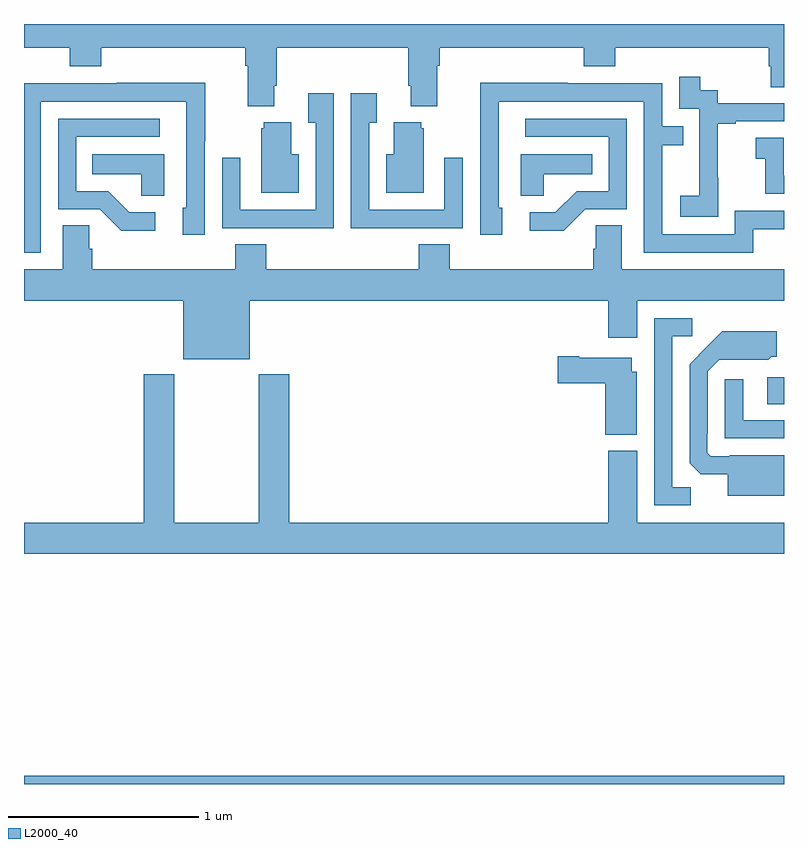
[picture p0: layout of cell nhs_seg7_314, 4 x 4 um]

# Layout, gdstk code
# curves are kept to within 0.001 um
import gdstk
lib = gdstk.Library(unit=1e-6, precision=1e-09)
def R(c, l, rs):  # rectangles x0, y0, x1, y1
    for r in rs: c.add(gdstk.rectangle(r[:2], r[2:], *l))
def P(c, l, *ps):  # polygons
    for p in ps: c.add(gdstk.Polygon(p, *l))
L2000_40 = (2000, 40)

nhs_seg7_314 = lib.new_cell('nhs_seg7_314')
R(nhs_seg7_314, L2000_40, [(133,1070,137,1070.044), (136.911,1072,137,1072.14)])
P(nhs_seg7_314, L2000_40, [(134.317,1073.674),(134.33,1073.674),(134.33,1073.876),(135.023,1073.876),(135.023,1073.674),(135.035,1073.674),(135.035,1073.567),(135.175,1073.567),(135.175,1073.78),(135.188,1073.78),(135.188,1073.876),(135.947,1073.876),(135.947,1073.777),(136.112,1073.777),(136.112,1073.876),(136.919,1073.876),(136.919,1073.778),(136.931,1073.778),(136.931,1073.668),(137,1073.668),(137,1074),(133,1074),(133,1073.876),(133.241,1073.876),(133.241,1073.777),(133.406,1073.777),(133.406,1073.876),(134.165,1073.876),(134.165,1073.78),(134.177,1073.78),(134.177,1073.567),(134.317,1073.567)],
  [(136.653,1073.191),(136.652,1073.191),(136.652,1073.475),(136.747,1073.475),(136.747,1073.487),(137,1073.487),(137,1073.583),(136.65,1073.583),(136.65,1073.652),(136.558,1073.652),(136.558,1073.722),(136.449,1073.722),(136.449,1073.553),(136.554,1073.553),(136.554,1073.324),(136.553,1073.324),(136.553,1073.095),(136.455,1073.095),(136.455,1072.985),(136.653,1072.985)],
  [(133.089,1073.592),(133.854,1073.592),(133.854,1073.034),(133.835,1073.034),(133.835,1072.89),(133.95,1072.89),(133.95,1073.383),(133.953,1073.383),(133.953,1073.69),(133.489,1073.69),(133.489,1073.688),(133,1073.688),(133,1072.797),(133.089,1072.797)],
  [(136.837,1072.92),(137,1072.92),(137,1073.016),(136.74,1073.016),(136.74,1072.893),(136.359,1072.893),(136.359,1073.362),(136.469,1073.362),(136.469,1073.463),(136.359,1073.463),(136.359,1073.688),(135.863,1073.688),(135.863,1073.69),(135.4,1073.69),(135.4,1073.383),(135.402,1073.383),(135.402,1072.89),(135.517,1072.89),(135.517,1073.034),(135.498,1073.034),(135.498,1073.592),(136.263,1073.592),(136.263,1072.797),(136.837,1072.797)],
  [(134.631,1073.635),(134.495,1073.635),(134.495,1073.479),(134.535,1073.479),(134.535,1073.022),(134.139,1073.022),(134.139,1073.296),(134.043,1073.296),(134.043,1072.926),(134.359,1072.926),(134.359,1072.925),(134.631,1072.925)],
  [(134.993,1072.926),(135.309,1072.926),(135.309,1073.296),(135.213,1073.296),(135.213,1073.022),(134.817,1073.022),(134.817,1073.479),(134.857,1073.479),(134.857,1073.635),(134.721,1073.635),(134.721,1072.925),(134.993,1072.925)],
  [(135.954,1073.025),(136.173,1073.025),(136.173,1073.502),(135.639,1073.502),(135.639,1073.406),(136.077,1073.406),(136.077,1073.121),(135.908,1073.121),(135.797,1073.01),(135.663,1073.01),(135.663,1072.913),(135.841,1072.913)],
  [(133.69,1073.01),(133.555,1073.01),(133.444,1073.121),(133.275,1073.121),(133.275,1073.406),(133.714,1073.406),(133.714,1073.502),(133.179,1073.502),(133.179,1073.025),(133.398,1073.025),(133.511,1072.913),(133.69,1072.913)],
  [(134.446,1073.314),(134.407,1073.314),(134.407,1073.482),(134.261,1073.482),(134.261,1073.451),(134.249,1073.451),(134.249,1073.111),(134.446,1073.111)],
  [(135.103,1073.451),(135.092,1073.451),(135.092,1073.482),(134.945,1073.482),(134.945,1073.314),(134.906,1073.314),(134.906,1073.111),(135.103,1073.111)],
  [(137,1073.202),(136.998,1073.202),(136.998,1073.401),(136.851,1073.401),(136.851,1073.291),(136.9,1073.291),(136.9,1073.106),(137,1073.106)],
  [(135.735,1073.21),(135.992,1073.21),(135.992,1073.314),(135.614,1073.314),(135.614,1073.095),(135.735,1073.095)],
  [(133.738,1073.314),(133.36,1073.314),(133.36,1073.21),(133.617,1073.21),(133.617,1073.095),(133.738,1073.095)],
  [(134.188,1072.544),(136.076,1072.544),(136.076,1072.35),(136.228,1072.35),(136.228,1072.544),(137,1072.544),(137,1072.708),(136.147,1072.708),(136.147,1072.94),(136.008,1072.94),(136.008,1072.817),(135.995,1072.817),(135.995,1072.708),(135.242,1072.708),(135.242,1072.841),(135.077,1072.841),(135.077,1072.708),(134.276,1072.708),(134.276,1072.841),(134.111,1072.841),(134.111,1072.708),(133.358,1072.708),(133.358,1072.817),(133.344,1072.817),(133.344,1072.94),(133.205,1072.94),(133.205,1072.708),(133,1072.708),(133,1072.544),(133.838,1072.544),(133.838,1072.235),(134.188,1072.235)],
  [(136.509,1071.563),(136.413,1071.563),(136.413,1072.356),(136.516,1072.356),(136.516,1072.452),(136.317,1072.452),(136.317,1071.468),(136.509,1071.468)],
  [(137,1071.73),(136.714,1071.73),(136.714,1071.726),(136.614,1071.726),(136.596,1071.744),(136.596,1071.844),(136.599,1071.844),(136.599,1072.173),(136.659,1072.233),(136.916,1072.232),(136.932,1072.248),(136.963,1072.248),(136.963,1072.384),(136.675,1072.384),(136.503,1072.21),(136.503,1071.688),(136.562,1071.629),(136.703,1071.629),(136.703,1071.518),(137,1071.518)],
  [(136.225,1072.17),(136.198,1072.17),(136.198,1072.243),(135.922,1072.243),(135.922,1072.251),(135.81,1072.251),(135.81,1072.109),(136.058,1072.109),(136.058,1071.839),(136.225,1071.839)],
  [(137,1071.376),(136.228,1071.376),(136.228,1071.754),(136.076,1071.754),(136.076,1071.376),(134.396,1071.376),(134.396,1072.156),(134.236,1072.156),(134.236,1071.376),(133.791,1071.376),(133.791,1072.156),(133.631,1072.156),(133.631,1071.376),(133,1071.376),(133,1071.212),(137,1071.212)],
  [(137,1071.915),(136.785,1071.915),(136.785,1072.129),(136.689,1072.129),(136.689,1071.819),(137,1071.819)])

lib.write_gds('nhs_seg7_314.gds')
